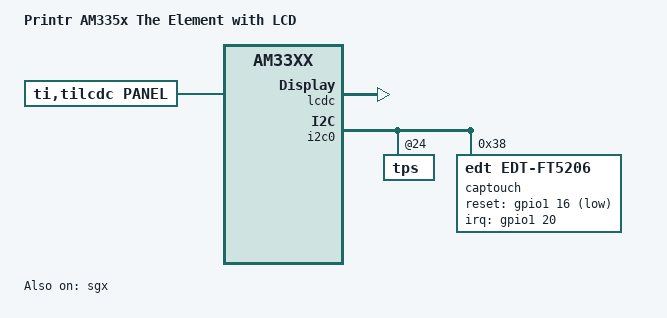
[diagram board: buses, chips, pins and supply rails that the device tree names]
/*
 * Copyright (C) 2012 Texas Instruments Incorporated - http://www.ti.com/
 *
 * This program is free software; you can redistribute it and/or modify
 * it under the terms of the GNU General Public License version 2 as
 * published by the Free Software Foundation.
 *
 * Version is based on board ID. For the LCD board it is 1.
 */
/dts-v1/;
#include <dt-bindings/gpio/gpio.h>

#include "am33xx.dtsi"
#include "am335x-the-element-common.dtsi"

/ {
	model = "Printr AM335x The Element with LCD";
	compatible = "ti,am335x-the-element", "ti,am33xx";

	panel {
		status = "okay";
		compatible = "ti,tilcdc,panel";
		pinctrl-names = "default";
		pinctrl-0 = <&lcd_panel_pins_default &lcd_panel_disen_pins_default>;
		panel-info {
			ac-bias           = <255>;
			ac-bias-intrpt    = <0>;
			dma-burst-sz      = <16>;
			bpp               = <16>;
			fdd               = <0x80>;
			sync-edge         = <1>;
			sync-ctrl         = <1>;
			raster-order      = <0>;
			fifo-th           = <0>;
		};
		display-timings {
			native-mode = <&timing0>;
			/* YUNLEA ELECTRONICS CO.,LTD YL-S99816D */
			timing0: 480x272 {
				clock-frequency = <9200000>;
				hactive = <480>;
				vactive = <272>;
				hfront-porch = <2>;
				hback-porch = <2>;
				hsync-len = <41>;
				vback-porch = <2>;
				vfront-porch = <2>;
				vsync-len = <10>;
				hsync-active = <0>;
				vsync-active = <0>;
				de-active = <1>;
				pixelclk-active = <0>;
			};
		};
	};
};

&am33xx_pinmux {
	lcd_panel_pins_default: lcd_panel_pins_default {
		pinctrl-single,pins = <
			0xe0 ( PIN_OUTPUT | MUX_MODE0 ) /* (U5) lcd_vsync.lcd_vsync */
			0xe4 ( PIN_OUTPUT | MUX_MODE0 ) /* (R5) lcd_hsync.lcd_hsync */
			0xe8 ( PIN_OUTPUT | MUX_MODE0 ) /* (V5) lcd_pclk.lcd_pclk */
			0xec ( PIN_OUTPUT | MUX_MODE0 ) /* (R6) lcd_ac_bias_en.lcd_ac_bias_en */
			0xa0 ( PIN_OUTPUT | MUX_MODE0 ) /* (R1) lcd_data0.lcd_data0 */
			0xa4 ( PIN_OUTPUT | MUX_MODE0 ) /* (R2) lcd_data1.lcd_data1 */
			0xa8 ( PIN_OUTPUT | MUX_MODE0 ) /* (R3) lcd_data2.lcd_data2 */
			0xac ( PIN_OUTPUT | MUX_MODE0 ) /* (R4) lcd_data3.lcd_data3 */
			0xb0 ( PIN_OUTPUT | MUX_MODE0 ) /* (T1) lcd_data4.lcd_data4 */
			0xb4 ( PIN_OUTPUT | MUX_MODE0 ) /* (T2) lcd_data5.lcd_data5 */
			0xb8 ( PIN_OUTPUT | MUX_MODE0 ) /* (T3) lcd_data6.lcd_data6 */
			0xbc ( PIN_OUTPUT | MUX_MODE0 ) /* (T4) lcd_data7.lcd_data7 */
			0xc0 ( PIN_OUTPUT | MUX_MODE0 ) /* (U1) lcd_data8.lcd_data8 */
			0xc4 ( PIN_OUTPUT | MUX_MODE0 ) /* (U2) lcd_data9.lcd_data9 */
			0xc8 ( PIN_OUTPUT | MUX_MODE0 ) /* (U3) lcd_data10.lcd_data10 */
			0xcc ( PIN_OUTPUT | MUX_MODE0 ) /* (U4) lcd_data11.lcd_data11 */
			0xd0 ( PIN_OUTPUT | MUX_MODE0 ) /* (V2) lcd_data12.lcd_data12 */
			0xd4 ( PIN_OUTPUT | MUX_MODE0 ) /* (V3) lcd_data13.lcd_data13 */
			0xd8 ( PIN_OUTPUT | MUX_MODE0 ) /* (V4) lcd_data14.lcd_data14 */
			0xdc ( PIN_OUTPUT | MUX_MODE0 ) /* (T5) lcd_data15.lcd_data15 */
		>;
	};

	lcd_panel_disen_pins_default: lcd_panel_disen_pins_default {
		pinctrl-single,pins = <
			0x98 ( PIN_OUTPUT_PULLUP | MUX_MODE7 ) /* (U6) gpmc_wen.gpio2[4] */
		>;
	};

	ctp_pins_default: ctp_pins_default {
		pinctrl-single,pins = <
			0x40 ( PIN_OUTPUT_PULLDOWN | MUX_MODE7 ) /* (R13) gpmc_a0.gpio1[16] CTP-RESET */
			0x50 ( PIN_INPUT_PULLDOWN | MUX_MODE7 ) /* (R14) gpmc_a4.gpio1[20] CTP-INT*/
		>;
	};
};

/* Enable the LCD controller */
&lcdc {
	status = "okay";
};

&sgx {
	status = "okay";
};

/* Add backlight control for the LCD */
&i2c0 {
	tps: tps@24 {
		backlight {
			isel = <1>;		/* 1 - ISET1, 2 ISET2 */
			fdim = <200>;	/* TPS65217_BL_FDIM_200HZ (100, 200, 500, 1000)*/
			default-brightness = <50>;
		};
	};

	captouch: edt-ft5x06@38 {
		compatible = "edt,edt-ft5206", "edt,edt-ft5x06";
		reg = <0x38>;
		pinctrl-names = "default";
		pinctrl-0 = <&ctp_pins_default>;
		interrupt-parent = <&gpio1>;
		interrupts = <20 IRQ_TYPE_EDGE_FALLING>;
		reset-gpios = <&gpio1 16 GPIO_ACTIVE_LOW>;
		/*wake-gpios = <&gpio4 9 GPIO_ACTIVE_LOW>;*/
		touchscreen-size-x = <480>;
		touchscreen-size-y = <272>;
	};
};
